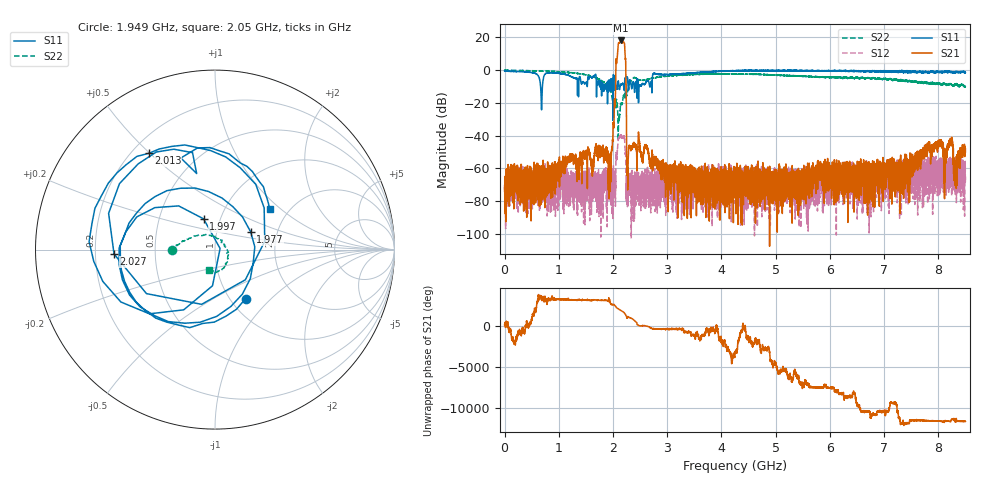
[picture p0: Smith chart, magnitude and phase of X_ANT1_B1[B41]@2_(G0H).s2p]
#  HZ  S  RI  R  50.00
! Rohde & Schwarz Vector Network Analyzer
! Rohde-Schwarz,ZNBT8-20Port,1318700624101681,3.50
! Created: UTC 7/15/2025, 2:10:07 PM
! freq[Hz]  re:S1010  im:S1010  re:S0510  im:S0510  re:S1005  im:S1005  re:S55  im:S55
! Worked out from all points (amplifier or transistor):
!   8500 points, 1 MHz to 8.5 GHz, reference 50 ohm
!   highest |S21| = 17.8 dB at 2.145 GHz (marker M1)
!   |S21| within 3 dB of that: 2.095 GHz to 2.215 GHz (120 MHz wide, 5.57 % of centre)
!   unconditionally stable (mu >= 1): start of sweep to end of sweep
!   at 1.417 GHz: K = 547050.46, MAG = -54.3 dB, |S12| = -70.5 dB
!   at 4.251 GHz: K = 230401.84, MAG = -55.8 dB, |S12| = -69.7 dB
!   at 8.5 GHz: K = 62248.18, MAG = -43.1 dB, |S12| = -63.8 dB
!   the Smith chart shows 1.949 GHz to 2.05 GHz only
!   S11 on the Smith chart (normalised r, x): 1.949 GHz: 1.17, -0.72; 1.977 GHz: 1.46, +0.30; 1.997 GHz: 0.83, +0.30; 2.013 GHz: 0.27, +0.50; 2.027 GHz: 0.28, -0.02; 2.05 GHz: 1.60, +0.84
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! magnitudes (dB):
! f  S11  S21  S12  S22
! 1 MHz  -0.9  -73.9  -72.7  -0.2
! 1.418 GHz  -8.5  -54.2  -67.3  -2.6
! 1.949 GHz  -9.8  -51.3  -80.1  -12.4
! 1.977 GHz  -13.1  -49.3  -66.1  -15.9
! 1.997 GHz  -14.8  -42.4  -65.0  -21.1
! 2.013 GHz  -3.7  -34.0  -63.0  -24.6
! 2.027 GHz  -5.0  -17.9  -67.6  -20.2
! 2.05 GHz  -8.4  -6.2  -60.7  -18.5
! 2.093 GHz  -7.2  14.0  -43.9  -31.8
! 2.145 GHz  -8.9  17.8  -39.9  -20.9
! 2.205 GHz  -12.3  16.4  -40.9  -15.3
! 2.292 GHz  -11.2  -46.7  -68.3  -10.6
! 2.454 GHz  -6.3  -48.3  -68.3  -5.9
! 2.834 GHz  -2.8  -58.0  -75.1  -4.5
! 4.251 GHz  -0.6  -68.1  -69.7  -2.6
! 5.667 GHz  -0.4  -77.2  -67.2  -4.3
! 7.084 GHz  -0.8  -61.9  -65.5  -5.5
! 8.009 GHz  -1.1  -44.7  -59.8  -8.5
! 8.131 GHz  -1.2  -56.3  -66.6  -9.0
! 8.223 GHz  -1.4  -43.5  -62.0  -8.6
! 8.318 GHz  -1.7  -63.0  -54.7  -8.9
! 8.5 GHz  -1.9  -48.1  -63.8  -10.1
